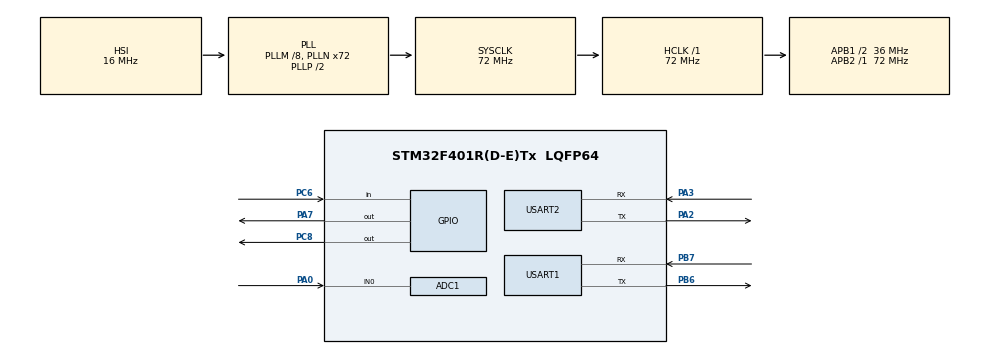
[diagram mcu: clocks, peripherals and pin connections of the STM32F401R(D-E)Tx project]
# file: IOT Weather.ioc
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ADC1.Channel-2\#ChannelRegularConversion=ADC_CHANNEL_0
ADC1.ContinuousConvMode=ENABLE
ADC1.NbrOfConversionFlag=1
ADC1.Rank-2\#ChannelRegularConversion=1
ADC1.SamplingTime-2\#ChannelRegularConversion=ADC_SAMPLETIME_3CYCLES
ADC1.master=1
Mcu.Family=STM32F4
Mcu.Name=STM32F401R(D-E)Tx
Mcu.Package=LQFP64
NVIC.ADC_IRQn=true\:0\:0\:false\:false\:true\:true\:true\:true
NVIC.PriorityGroup=NVIC_PRIORITYGROUP_4
NVIC.USART1_IRQn=true\:0\:0\:false\:false\:true\:true\:true\:true
PA0-WKUP.Signal=ADCx_IN0
PA13.Mode=Serial_Wire
PA13.Signal=SYS_JTMS-SWDIO
PA14.Mode=Serial_Wire
PA14.Signal=SYS_JTCK-SWCLK
PA2.Mode=Asynchronous
PA2.Signal=USART2_TX
PA3.Mode=Asynchronous
PA3.Signal=USART2_RX
PA7.Signal=GPIO_Output
PB6.Mode=Asynchronous
PB6.Signal=USART1_TX
PB7.Mode=Asynchronous
PB7.Signal=USART1_RX
PC6.Signal=GPIO_Input
PC8.Signal=GPIO_Output
PH0\ -\ OSC_IN.Mode=HSE-External-Oscillator
PH0\ -\ OSC_IN.Signal=RCC_OSC_IN
PH1\ -\ OSC_OUT.Mode=HSE-External-Oscillator
PH1\ -\ OSC_OUT.Signal=RCC_OSC_OUT
ProjectManager.HeapSize=0x200
ProjectManager.StackSize=0x400
ProjectManager.TargetToolchain=STM32CubeIDE
RCC.48MHZClocksFreq_Value=36000000
RCC.AHBFreq_Value=72000000
RCC.APB1CLKDivider=RCC_HCLK_DIV2
RCC.APB1Freq_Value=36000000
RCC.APB1TimFreq_Value=72000000
RCC.APB2Freq_Value=72000000
RCC.APB2TimFreq_Value=72000000
RCC.CortexFreq_Value=72000000
RCC.HCLKFreq_Value=72000000
RCC.HSE_VALUE=25000000
RCC.HSI_VALUE=16000000
RCC.LSE_VALUE=32768
RCC.PLLM=8
RCC.PLLN=72
RCC.SYSCLKFreq_VALUE=72000000
RCC.SYSCLKSource=RCC_SYSCLKSOURCE_PLLCLK
RCC.VCOOutputFreq_Value=144000000
SH.ADCx_IN0.0=ADC1_IN0,IN0
TIM1.Prescaler=71
USART1.VirtualMode=VM_ASYNC
USART2.VirtualMode=VM_ASYNC
VP_TIM1_VS_ClockSourceINT.Mode=Internal
board=custom

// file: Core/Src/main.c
/* USER CODE BEGIN Header */
/**
  ******************************************************************************
  * @file           : main.c
  * @brief          : Main program body
  ******************************************************************************
  * @attention
  *
  * Copyright (c) 2023 STMicroelectronics.
  * All rights reserved.
  *
  * This software is licensed under terms that can be found in the LICENSE file
  * in the root directory of this software component.
  * If no LICENSE file comes with this software, it is provided AS-IS.
  *
  ******************************************************************************
  */
/* USER CODE END Header */
#include "main.h"

/* USER CODE BEGIN Includes */

#include "ESPDataLogger.h"

/* USER CODE END Includes */

/* USER CODE BEGIN PTD */
uint16_t WaterValue;
uint8_t flag = 0;
/* USER CODE END PTD */

ADC_HandleTypeDef hadc1;

TIM_HandleTypeDef htim1;

UART_HandleTypeDef huart1;
UART_HandleTypeDef huart2;

/* USER CODE BEGIN PV */
void HAL_ADC_ConvCpltCallback(ADC_HandleTypeDef* hadc)
{
   WaterValue = HAL_ADC_GetValue(&hadc1);
   if (WaterValue > 200)
   {
	 flag = 1  ;
   }
}
/* USER CODE END PV */

void SystemClock_Config(void);
static void MX_GPIO_Init(void);
static void MX_TIM1_Init(void);
static void MX_ADC1_Init(void);
static void MX_USART2_UART_Init(void);
static void MX_USART1_UART_Init(void);

/* USER CODE BEGIN 0 */

#define TWILIO_ACCOUNT_SID "AC1d64fed5cbd68df27405254d4151e1f7"
#define TWILIO_AUTH_TOKEN "bcb0a0047a2c471a7a6b4fe84ea3639b"
#define TWILIO_PHONE_NUMBER "+14388022326"
#define TO_PHONE_NUMBER "+14389288972"

#define DHT11_PORT GPIOC
#define DHT11_PIN GPIO_PIN_8
uint8_t RHI, RHD, TCI, TCD, SUM;
uint32_t pMillis, cMillis;
float tCelsius = 0;
float tFahrenheit = 0;
float RH = 0;

#define VB_PORT GPIOC
#define VB_PIN GPIO_PIN_6
uint8_t val;
uint8_t val2;

#define WS_PORT GPIOA
#define WS_PIN GPIO_PIN_0

uint16_t Value_Buffer [4];

//uint16_t WaterValue;

void microDelay (uint16_t delay)
{
  __HAL_TIM_SET_COUNTER(&htim1, 0);
  while (__HAL_TIM_GET_COUNTER(&htim1) < delay);
}

//uint8_t DHT11(void);

void sendTwilioSMS(const char* message)
{
    // Create an HTTP request to send an SMS via Twilio.
    char request[259];
    snprintf(request, sizeof(request),
        "POST /2010-04-01/Accounts/%s/Messages.json HTTP/1.1\r\n"
        "Host: api.twilio.com\r\n"
        "Authorization: Basic your_base64_encoded_credentials\r\n"
        "Content-Type: application/x-www-form-urlencoded\r\n"
        "Content-Length: %d\r\n\r\n"
        "To=%s&From=%s&Body=%s",TWILIO_ACCOUNT_SID,TWILIO_PHONE_NUMBER,TO_PHONE_NUMBER,50,message);
}

uint8_t DHT11_Start (void)
{
  uint8_t Response = 0;
  GPIO_InitTypeDef GPIO_InitStructPrivate = {0};
  GPIO_InitStructPrivate.Pin = DHT11_PIN;
  GPIO_InitStructPrivate.Mode = GPIO_MODE_OUTPUT_PP;
  GPIO_InitStructPrivate.Speed = GPIO_SPEED_FREQ_LOW;
  GPIO_InitStructPrivate.Pull = GPIO_NOPULL;
  HAL_GPIO_Init(DHT11_PORT, &GPIO_InitStructPrivate); // set the pin as output
  HAL_GPIO_WritePin (DHT11_PORT, DHT11_PIN, 0);   // pull the pin low
  HAL_Delay(20);   // wait for 20ms
  HAL_GPIO_WritePin (DHT11_PORT, DHT11_PIN, 1);   // pull the pin high
  microDelay (30);   // wait for 30us
  GPIO_InitStructPrivate.Mode = GPIO_MODE_INPUT;
  GPIO_InitStructPrivate.Pull = GPIO_PULLUP;
  HAL_GPIO_Init(DHT11_PORT, &GPIO_InitStructPrivate); // set the pin as input
  microDelay (40);
  if (!(HAL_GPIO_ReadPin (DHT11_PORT, DHT11_PIN)))
  {
    microDelay (80);
    if ((HAL_GPIO_ReadPin (DHT11_PORT, DHT11_PIN))) Response = 1;
  }
  pMillis = HAL_GetTick();
  cMillis = HAL_GetTick();
  while ((HAL_GPIO_ReadPin (DHT11_PORT, DHT11_PIN)) && pMillis + 2 > cMillis)
  {
    cMillis = HAL_GetTick();
  }
  return Response;
}

uint8_t DHT11_Read (void)
{
  uint8_t a,b;
  for (a=0;a<8;a++)
  {
    pMillis = HAL_GetTick();
    cMillis = HAL_GetTick();
    while (!(HAL_GPIO_ReadPin (DHT11_PORT, DHT11_PIN)) && pMillis + 2 > cMillis)
    {  // wait for the pin to go high
      cMillis = HAL_GetTick();
    }
    microDelay (40);   // wait for 40 us
    if (!(HAL_GPIO_ReadPin (DHT11_PORT, DHT11_PIN)))   // if the pin is low
      b&= ~(1<<(7-a));
    else
      b|= (1<<(7-a));
    pMillis = HAL_GetTick();
    cMillis = HAL_GetTick();
    while ((HAL_GPIO_ReadPin (DHT11_PORT, DHT11_PIN)) && pMillis + 2 > cMillis)
    {  // wait for the pin to go low
      cMillis = HAL_GetTick();
    }
  }
  return b;
}

uint8_t DHT11 (void)
{
	  if(DHT11_Start())
	      {
	        RHI = DHT11_Read(); // Relative humidity integral
	        RHD = DHT11_Read(); // Relative humidity decimal
	        TCI = DHT11_Read(); // Celsius integral
	        TCD = DHT11_Read(); // Celsius decimal
	        SUM = DHT11_Read(); // Check sum
	        if (RHI + RHD + TCI + TCD == SUM)
	        {
	          // Can use RHI and TCI for any purposes if whole number only needed
	          tCelsius = (float)TCI + (float)(TCD/10.0);
	          tFahrenheit = tCelsius * 9/5 + 32;
	          RH = (float)RHI + (float)(RHD/10.0);
	          // Can use tCelsius, tFahrenheit and RH for any purposes
	        }
	      }
	  return 0;
}

uint8_t VibrationSensor(void)
{
	val = HAL_GPIO_ReadPin(VB_PORT, VB_PIN);
	if (val == 1)
	{
	    HAL_GPIO_WritePin(GPIOA, GPIO_PIN_7, 1);
	    sendTwilioSMS("EARTHQUAKE ALERT");

	}
	else
	{
		HAL_GPIO_WritePin(GPIOA, GPIO_PIN_7, 0);
	}
	return 0;
}

uint8_t WaterSensor(void)
{
	if (flag == 1)
	  {
		  HAL_UART_Transmit(&huart2, (uint8_t*) "Water detected!\n", 19,200);
		  flag = 0;
	  }
}

/* USER CODE END 0 */

int main(void)
{

  /* MCU Configuration--------------------------------------------------------*/

  /* Reset of all peripherals, Initializes the Flash interface and the Systick. */
  HAL_Init();

  /* Configure the system clock */
  SystemClock_Config();

  /* Initialize all configured peripherals */
  MX_GPIO_Init();
  MX_TIM1_Init();
  MX_ADC1_Init();
  MX_USART2_UART_Init();
  MX_USART1_UART_Init();
  /* USER CODE BEGIN 2 */
  HAL_TIM_Base_Start(&htim1);

  HAL_ADC_Start(&hadc1);

  ESP_Init("sadiq", "sadiqali");
  /* USER CODE END 2 */

  /* Infinite loop */
  /* USER CODE BEGIN WHILE */
  while (1)
  {
      DHT11();

      VibrationSensor();

      WaterSensor();

      Value_Buffer[0] = tCelsius;
      Value_Buffer[1] = RH;
      Value_Buffer[2] = val;
      Value_Buffer[3] = WaterValue;

      ESP_Send_Multi ("UBPKRRV7MRENGTV3", 4, Value_Buffer);

	  HAL_ADC_Start_IT(&hadc1);
    /* USER CODE END WHILE */

  }
}

void SystemClock_Config(void)
{
  RCC_OscInitTypeDef RCC_OscInitStruct = {0};
  RCC_ClkInitTypeDef RCC_ClkInitStruct = {0};

  /** Configure the main internal regulator output voltage
  */
  __HAL_RCC_PWR_CLK_ENABLE();
  __HAL_PWR_VOLTAGESCALING_CONFIG(PWR_REGULATOR_VOLTAGE_SCALE2);

  /** Initializes the RCC Oscillators according to the specified parameters
  * in the RCC_OscInitTypeDef structure.
  */
  RCC_OscInitStruct.OscillatorType = RCC_OSCILLATORTYPE_HSI;
  RCC_OscInitStruct.HSIState = RCC_HSI_ON;
  RCC_OscInitStruct.HSICalibrationValue = RCC_HSICALIBRATION_DEFAULT;
  RCC_OscInitStruct.PLL.PLLState = RCC_PLL_ON;
  RCC_OscInitStruct.PLL.PLLSource = RCC_PLLSOURCE_HSI;
  RCC_OscInitStruct.PLL.PLLM = 8;
  RCC_OscInitStruct.PLL.PLLN = 72;
  RCC_OscInitStruct.PLL.PLLP = RCC_PLLP_DIV2;
  RCC_OscInitStruct.PLL.PLLQ = 4;
  if (HAL_RCC_OscConfig(&RCC_OscInitStruct) != HAL_OK)
  {
    Error_Handler();
  }

  /** Initializes the CPU, AHB and APB buses clocks
  */
  RCC_ClkInitStruct.ClockType = RCC_CLOCKTYPE_HCLK|RCC_CLOCKTYPE_SYSCLK
                              |RCC_CLOCKTYPE_PCLK1|RCC_CLOCKTYPE_PCLK2;
  RCC_ClkInitStruct.SYSCLKSource = RCC_SYSCLKSOURCE_PLLCLK;
  RCC_ClkInitStruct.AHBCLKDivider = RCC_SYSCLK_DIV1;
  RCC_ClkInitStruct.APB1CLKDivider = RCC_HCLK_DIV2;
  RCC_ClkInitStruct.APB2CLKDivider = RCC_HCLK_DIV1;

  if (HAL_RCC_ClockConfig(&RCC_ClkInitStruct, FLASH_LATENCY_2) != HAL_OK)
  {
    Error_Handler();
  }
}

static void MX_ADC1_Init(void)
{

  ADC_ChannelConfTypeDef sConfig = {0};

  /** Configure the global features of the ADC (Clock, Resolution, Data Alignment and number of conversion)
  */
  hadc1.Instance = ADC1;
  hadc1.Init.ClockPrescaler = ADC_CLOCK_SYNC_PCLK_DIV2;
  hadc1.Init.Resolution = ADC_RESOLUTION_12B;
  hadc1.Init.ScanConvMode = DISABLE;
  hadc1.Init.ContinuousConvMode = ENABLE;
  hadc1.Init.DiscontinuousConvMode = DISABLE;
  hadc1.Init.ExternalTrigConvEdge = ADC_EXTERNALTRIGCONVEDGE_NONE;
  hadc1.Init.ExternalTrigConv = ADC_SOFTWARE_START;
  hadc1.Init.DataAlign = ADC_DATAALIGN_RIGHT;
  hadc1.Init.NbrOfConversion = 1;
  hadc1.Init.DMAContinuousRequests = DISABLE;
  hadc1.Init.EOCSelection = ADC_EOC_SINGLE_CONV;
  if (HAL_ADC_Init(&hadc1) != HAL_OK)
  {
    Error_Handler();
  }

  /** Configure for the selected ADC regular channel its corresponding rank in the sequencer and its sample time.
  */
  sConfig.Channel = ADC_CHANNEL_0;
  sConfig.Rank = 1;
  sConfig.SamplingTime = ADC_SAMPLETIME_3CYCLES;
  if (HAL_ADC_ConfigChannel(&hadc1, &sConfig) != HAL_OK)
  {
    Error_Handler();
  }

}

static void MX_TIM1_Init(void)
{

  TIM_ClockConfigTypeDef sClockSourceConfig = {0};
  TIM_MasterConfigTypeDef sMasterConfig = {0};

  htim1.Instance = TIM1;
  htim1.Init.Prescaler = 71;
  htim1.Init.CounterMode = TIM_COUNTERMODE_UP;
  htim1.Init.Period = 65535;
  htim1.Init.ClockDivision = TIM_CLOCKDIVISION_DIV1;
  htim1.Init.RepetitionCounter = 0;
  htim1.Init.AutoReloadPreload = TIM_AUTORELOAD_PRELOAD_DISABLE;
  if (HAL_TIM_Base_Init(&htim1) != HAL_OK)
  {
    Error_Handler();
  }
  sClockSourceConfig.ClockSource = TIM_CLOCKSOURCE_INTERNAL;
  if (HAL_TIM_ConfigClockSource(&htim1, &sClockSourceConfig) != HAL_OK)
  {
    Error_Handler();
  }
  sMasterConfig.MasterOutputTrigger = TIM_TRGO_RESET;
  sMasterConfig.MasterSlaveMode = TIM_MASTERSLAVEMODE_DISABLE;
  if (HAL_TIMEx_MasterConfigSynchronization(&htim1, &sMasterConfig) != HAL_OK)
  {
    Error_Handler();
  }

}

static void MX_USART1_UART_Init(void)
{

  huart1.Instance = USART1;
  huart1.Init.BaudRate = 115200;
  huart1.Init.WordLength = UART_WORDLENGTH_8B;
  huart1.Init.StopBits = UART_STOPBITS_1;
  huart1.Init.Parity = UART_PARITY_NONE;
  huart1.Init.Mode = UART_MODE_TX_RX;
  huart1.Init.HwFlowCtl = UART_HWCONTROL_NONE;
  huart1.Init.OverSampling = UART_OVERSAMPLING_16;
  if (HAL_UART_Init(&huart1) != HAL_OK)
  {
    Error_Handler();
  }

}

static void MX_USART2_UART_Init(void)
{

  huart2.Instance = USART2;
  huart2.Init.BaudRate = 115200;
  huart2.Init.WordLength = UART_WORDLENGTH_8B;
  huart2.Init.StopBits = UART_STOPBITS_1;
  huart2.Init.Parity = UART_PARITY_NONE;
  huart2.Init.Mode = UART_MODE_TX_RX;
  huart2.Init.HwFlowCtl = UART_HWCONTROL_NONE;
  huart2.Init.OverSampling = UART_OVERSAMPLING_16;
  if (HAL_UART_Init(&huart2) != HAL_OK)
  {
    Error_Handler();
  }

}

static void MX_GPIO_Init(void)
{
  GPIO_InitTypeDef GPIO_InitStruct = {0};

  /* GPIO Ports Clock Enable */
  __HAL_RCC_GPIOH_CLK_ENABLE();
  __HAL_RCC_GPIOA_CLK_ENABLE();
  __HAL_RCC_GPIOC_CLK_ENABLE();
  __HAL_RCC_GPIOB_CLK_ENABLE();

  /*Configure GPIO pin Output Level */
  HAL_GPIO_WritePin(GPIOA, GPIO_PIN_7, GPIO_PIN_RESET);

  /*Configure GPIO pin Output Level */
  HAL_GPIO_WritePin(GPIOC, GPIO_PIN_8, GPIO_PIN_RESET);

  /*Configure GPIO pin : PA7 */
  GPIO_InitStruct.Pin = GPIO_PIN_7;
  GPIO_InitStruct.Mode = GPIO_MODE_OUTPUT_PP;
  GPIO_InitStruct.Pull = GPIO_NOPULL;
  GPIO_InitStruct.Speed = GPIO_SPEED_FREQ_LOW;
  HAL_GPIO_Init(GPIOA, &GPIO_InitStruct);

  /*Configure GPIO pin : PC6 */
  GPIO_InitStruct.Pin = GPIO_PIN_6;
  GPIO_InitStruct.Mode = GPIO_MODE_INPUT;
  GPIO_InitStruct.Pull = GPIO_NOPULL;
  HAL_GPIO_Init(GPIOC, &GPIO_InitStruct);

  /*Configure GPIO pin : PC8 */
  GPIO_InitStruct.Pin = GPIO_PIN_8;
  GPIO_InitStruct.Mode = GPIO_MODE_OUTPUT_PP;
  GPIO_InitStruct.Pull = GPIO_NOPULL;
  GPIO_InitStruct.Speed = GPIO_SPEED_FREQ_LOW;
  HAL_GPIO_Init(GPIOC, &GPIO_InitStruct);

}

void Error_Handler(void)
{
  __disable_irq();
  while (1)
  {
  }
}
